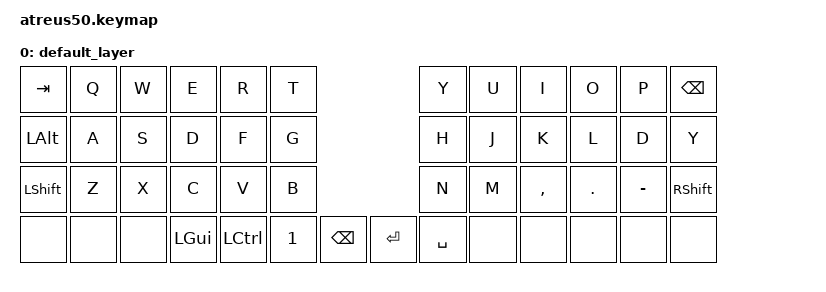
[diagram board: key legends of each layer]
/*
 * Copyright (c) 2020 The ZMK Contributors
 *
 * SPDX-License-Identifier: MIT
 */

#include <behaviors.dtsi>
#include <dt-bindings/zmk/keys.h>
#include <dt-bindings/zmk/bt.h>

#define DEFAULT 0

/ {
    behaviors {
        hm: homerow_mods {
            compatible = "zmk,behavior-hold-tap";
            label = "homerow mods";
            #binding-cells = <2>;
            tapping_term_ms = <225>;
            flavor = "tap-preferred";
            bindings = <&kp>, <&kp>;
        };
    };

    combos {
    	compatible = "zmk,combos";
    	combo_auml {
    	    timeout-ms = <50>;
    	    key-positions = <13 15>;
    	    bindings = <&kp AUML>;
    	};
    	combo_ouml {
    	    timeout-ms = <50>;
    	    key-positions = <2 15>;
    	    bindings = <&kp OUML>;
    	};
    	combo_uuml {
    	    timeout-ms = <50>;
    	    key-positions = <15 16>;
    	    bindings = <&kp UUML>;
    	};
    	combo_sz {
    	    timeout-ms = <50>;
    	    key-positions = <20 22>;
    	    bindings = <&kp DE_SS>;
    	};
    	combo_esc {
    	    timeout-ms = <50>;
    	    key-positions = <2 3>;
    	    bindings = <&kp ESC>;
    	};
    	combo_tab {
    	    timeout-ms = <50>;
    	    key-positions = <14 15>;
    	    bindings = <&kp TAB>;
    	};
    };
    
};

/ {
    keymap {
        compatible = "zmk,keymap";

        default_layer {
            bindings = <
    &kp TAB   &kp Q     &kp W     &kp E     &kp R     &kp T                         &kp Y     &kp U     &kp I     &kp O     &kp P     &kp BSPC
    &kp LALT  &kp A     &kp S     &kp D     &kp F     &kp G                         &kp H     &kp J     &kp K     &kp L     &kp D     &kp Y
    &kp LSHFT &kp Z     &kp X     &kp C     &kp V     &kp B                         &kp N     &kp M     &kp COMMA &kp DOT   &kp MINUS &kp RSHFT
    &none     &none     &none     &kp LGUI  &kp LCTRL &kp NUM_1 &kp BSPC  &kp ENTER &kp SPACE &none     &none     &none     &none     &none
            >;
        };
    };
};
